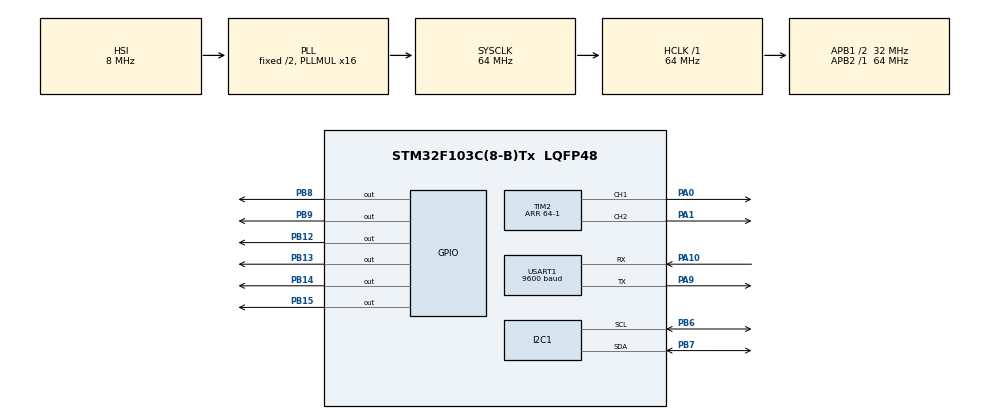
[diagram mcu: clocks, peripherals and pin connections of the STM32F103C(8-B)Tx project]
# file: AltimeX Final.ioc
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Dma.Request0=TIM2_CH2/CH4
Dma.TIM2_CH2/CH4.0.Direction=DMA_MEMORY_TO_PERIPH
Dma.TIM2_CH2/CH4.0.Instance=DMA1_Channel7
Dma.TIM2_CH2/CH4.0.MemDataAlignment=DMA_MDATAALIGN_HALFWORD
Dma.TIM2_CH2/CH4.0.MemInc=DMA_MINC_ENABLE
Dma.TIM2_CH2/CH4.0.Mode=DMA_NORMAL
Dma.TIM2_CH2/CH4.0.PeriphDataAlignment=DMA_PDATAALIGN_HALFWORD
Dma.TIM2_CH2/CH4.0.PeriphInc=DMA_PINC_DISABLE
Dma.TIM2_CH2/CH4.0.Priority=DMA_PRIORITY_LOW
I2C1.I2C_Mode=I2C_Standard
Mcu.Family=STM32F1
Mcu.Name=STM32F103C(8-B)Tx
Mcu.Package=LQFP48
NVIC.DMA1_Channel7_IRQn=true\:0\:0\:false\:false\:true\:false\:true\:true
NVIC.PriorityGroup=NVIC_PRIORITYGROUP_4
NVIC.USART1_IRQn=true\:0\:0\:false\:false\:true\:true\:true\:true
PA0-WKUP.Signal=S_TIM2_CH1_ETR
PA1.Signal=S_TIM2_CH2
PA10.Mode=Asynchronous
PA10.Signal=USART1_RX
PA9.Mode=Asynchronous
PA9.Signal=USART1_TX
PB12.Signal=GPIO_Output
PB13.Signal=GPIO_Output
PB14.Signal=GPIO_Output
PB15.Signal=GPIO_Output
PB6.Mode=I2C
PB6.Signal=I2C1_SCL
PB7.Mode=I2C
PB7.Signal=I2C1_SDA
PB8.Signal=GPIO_Output
PB9.Signal=GPIO_Output
ProjectManager.HeapSize=0x200
ProjectManager.StackSize=0x400
ProjectManager.TargetToolchain=STM32CubeIDE
RCC.ADCPresc=RCC_ADCPCLK2_DIV6
RCC.AHBFreq_Value=64000000
RCC.APB1CLKDivider=RCC_HCLK_DIV2
RCC.APB1Freq_Value=32000000
RCC.APB1TimFreq_Value=64000000
RCC.APB2Freq_Value=64000000
RCC.APB2TimFreq_Value=64000000
RCC.HCLKFreq_Value=64000000
RCC.PLLMUL=RCC_PLL_MUL16
RCC.SYSCLKFreq_VALUE=64000000
RCC.SYSCLKSource=RCC_SYSCLKSOURCE_PLLCLK
RCC.USBFreq_Value=64000000
SH.S_TIM2_CH1_ETR.0=TIM2_CH1,PWM Generation1 CH1
SH.S_TIM2_CH2.0=TIM2_CH2,PWM Generation2 CH2
TIM1.Prescaler=4-1
TIM2.Channel-PWM\ Generation1\ CH1=TIM_CHANNEL_1
TIM2.Channel-PWM\ Generation2\ CH2=TIM_CHANNEL_2
TIM2.Period=64-1
USART1.BaudRate=9600
USART1.VirtualMode=VM_ASYNC
VP_TIM1_VS_ClockSourceINT.Mode=Internal
VP_TIM2_VS_ClockSourceINT.Mode=Internal
board=custom

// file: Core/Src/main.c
/* USER CODE BEGIN Header */
/**
  ******************************************************************************
  * @file           : main.c
  * @brief          : Main program body
  ******************************************************************************
  * @attention
  *
  * Copyright (c) 2023 STMicroelectronics.
  * All rights reserved.
  *
  * This software is licensed under terms that can be found in the LICENSE file
  * in the root directory of this software component.
  * If no LICENSE file comes with this software, it is provided AS-IS.
  *
  ******************************************************************************
  */
#include <altimex_led_controller.h>
#include <altimex_state_controller.h>
/* USER CODE END Header */
#include "main.h"

/* USER CODE BEGIN Includes */
#include "led_strip.h"
#include "LPS22HB.h"
#include "altimex_serial.h"
#include "altimex_storage.h"
/* USER CODE END Includes */

I2C_HandleTypeDef hi2c1;

TIM_HandleTypeDef htim1;
TIM_HandleTypeDef htim2;
DMA_HandleTypeDef hdma_tim2_ch2_ch4;

UART_HandleTypeDef huart1;

void SystemClock_Config(void);
static void MX_GPIO_Init(void);
static void MX_DMA_Init(void);
static void MX_I2C1_Init(void);
static void MX_TIM2_Init(void);
static void MX_TIM1_Init(void);
static void MX_USART1_UART_Init(void);

int main(void)
{

  /* MCU Configuration--------------------------------------------------------*/

  /* Reset of all peripherals, Initializes the Flash interface and the Systick. */
  HAL_Init();

  /* USER CODE BEGIN Init */
	Strip_Set_Timer(&htim2);
	Strip_Clear();
  /* USER CODE END Init */

  /* Configure the system clock */
  SystemClock_Config();

  /* Initialize all configured peripherals */
  MX_GPIO_Init();
  MX_DMA_Init();
  MX_I2C1_Init();
  MX_TIM2_Init();
  MX_TIM1_Init();
  MX_USART1_UART_Init();
  /* USER CODE BEGIN 2 */

	HAL_Delay(1000);
	//LPS22HB barometer = new LPS22HB(&hi2c1, LPS_DEFAULT_ADDRESS, &huart1);
	//double refP = barometer.get_calibration_pressure(10, 100);
	//double refT = barometer.get_calibration_temperature(10, 100);
	//double tempF = barometer.get_tempf();
	double alt = 0.0;
	//uint16_t alt = 0;

	struct AltimexConfig config;
	config.ascentThreshold = 500;              //The altitude you must pass for it to transition into the ascent state
	config.ascentThresholdTime = 1000;         //ms that altitude must be above the ascentThreshold before transitioning between states
	config.deployTestThresholdTime = 2000;     //ms, threshold time that vertical speed has to be under 50mph
	config.gearCheckNotificationLength = 5000; //ms, the length of the gearcheck notification
	config.freefallThresholdTime = 2000;       //ms, the amount of time that the vertical speed must be above the freefall threshold speed to transition into freefall state
	config.exit = 12500.0;                       //Exit altitude
	config.breakoff = 5500.0;                    //Breakoff altitude
	config.deploy = 4500.0;                      //Deployment altitude
	config.standbyFlashOnLength = 100;         //How long the light is on for when in standby mode
	config.standbyFlashOffLength = 10000;       //Period between each flash in standby mode
	config.numLeds = 10;                       //The number of leds being used
	config.gearCheckAlt = 10000.0;               //The altitude that the gear check notification is given
	config.brightness = 20;                    //LED brightness
	config.standbyBrightness = 5;              //Brightness of LEDS while in standby mode
  /* USER CODE END 2 */

  /* Infinite loop */
  /* USER CODE BEGIN WHILE */
  uint16_t step = 0;
  while (1)
  {
	//uint8_t data[] = "hello!!!";
	//STORAGE_write(&hi2c1, 0, 8, &data);
	//uint8_t data_read[8] = {'\0'};
	//STORAGE_read(&hi2c1, 0, 8, &data_read);
	//println(data_read, strlen(data_read), &huart1);

	//tempF = barometer.get_tempf();
	//printd(tempF, &huart1);
    /*
    if(HAL_GetTick() > 10000 && HAL_GetTick() < 70000) alt = ((HAL_GetTick() - 10000) / (double)60000) * 12500;
    if(alt < 0) alt = 12500;
    if(HAL_GetTick() > 70000)
    {
    	if(alt < 2500) alt -= 5;
    	else alt -= 29;
    }
	*/

    //alt = barometer.get_relalt_ft(refP);
    //StateController_updateState(&config, alt);
    //Altimex_displayLeds(StateController_currentState, step, &config, alt);
    step++;
    if(step > 100) step = 0;

    /*
    char data[10];
    sprintf(data, "%f", alt);
    HAL_UART_Transmit(&huart1, data, sizeof(data), 100);
    */

    //printd(alt, &huart1);

    //Data is received one byte at a time
    //uint8_t Rx_data[1];
    //HAL_UART_Receive(&huart1, Rx_data, 100, 100);

    HAL_Delay(100); //10hz
    /* USER CODE END WHILE */

  }
}

void SystemClock_Config(void)
{
  RCC_OscInitTypeDef RCC_OscInitStruct = {0};
  RCC_ClkInitTypeDef RCC_ClkInitStruct = {0};

  /** Initializes the RCC Oscillators according to the specified parameters
  * in the RCC_OscInitTypeDef structure.
  */
  RCC_OscInitStruct.OscillatorType = RCC_OSCILLATORTYPE_HSI;
  RCC_OscInitStruct.HSIState = RCC_HSI_ON;
  RCC_OscInitStruct.HSICalibrationValue = RCC_HSICALIBRATION_DEFAULT;
  RCC_OscInitStruct.PLL.PLLState = RCC_PLL_ON;
  RCC_OscInitStruct.PLL.PLLSource = RCC_PLLSOURCE_HSI_DIV2;
  RCC_OscInitStruct.PLL.PLLMUL = RCC_PLL_MUL16;
  if (HAL_RCC_OscConfig(&RCC_OscInitStruct) != HAL_OK)
  {
    Error_Handler();
  }

  /** Initializes the CPU, AHB and APB buses clocks
  */
  RCC_ClkInitStruct.ClockType = RCC_CLOCKTYPE_HCLK|RCC_CLOCKTYPE_SYSCLK
                              |RCC_CLOCKTYPE_PCLK1|RCC_CLOCKTYPE_PCLK2;
  RCC_ClkInitStruct.SYSCLKSource = RCC_SYSCLKSOURCE_PLLCLK;
  RCC_ClkInitStruct.AHBCLKDivider = RCC_SYSCLK_DIV1;
  RCC_ClkInitStruct.APB1CLKDivider = RCC_HCLK_DIV2;
  RCC_ClkInitStruct.APB2CLKDivider = RCC_HCLK_DIV1;

  if (HAL_RCC_ClockConfig(&RCC_ClkInitStruct, FLASH_LATENCY_2) != HAL_OK)
  {
    Error_Handler();
  }
}

static void MX_I2C1_Init(void)
{

  hi2c1.Instance = I2C1;
  hi2c1.Init.ClockSpeed = 100000;
  hi2c1.Init.DutyCycle = I2C_DUTYCYCLE_2;
  hi2c1.Init.OwnAddress1 = 0;
  hi2c1.Init.AddressingMode = I2C_ADDRESSINGMODE_7BIT;
  hi2c1.Init.DualAddressMode = I2C_DUALADDRESS_DISABLE;
  hi2c1.Init.OwnAddress2 = 0;
  hi2c1.Init.GeneralCallMode = I2C_GENERALCALL_DISABLE;
  hi2c1.Init.NoStretchMode = I2C_NOSTRETCH_DISABLE;
  if (HAL_I2C_Init(&hi2c1) != HAL_OK)
  {
    Error_Handler();
  }

}

static void MX_TIM1_Init(void)
{

  TIM_ClockConfigTypeDef sClockSourceConfig = {0};
  TIM_MasterConfigTypeDef sMasterConfig = {0};

  htim1.Instance = TIM1;
  htim1.Init.Prescaler = 4-1;
  htim1.Init.CounterMode = TIM_COUNTERMODE_UP;
  htim1.Init.Period = 65535;
  htim1.Init.ClockDivision = TIM_CLOCKDIVISION_DIV1;
  htim1.Init.RepetitionCounter = 0;
  htim1.Init.AutoReloadPreload = TIM_AUTORELOAD_PRELOAD_DISABLE;
  if (HAL_TIM_Base_Init(&htim1) != HAL_OK)
  {
    Error_Handler();
  }
  sClockSourceConfig.ClockSource = TIM_CLOCKSOURCE_INTERNAL;
  if (HAL_TIM_ConfigClockSource(&htim1, &sClockSourceConfig) != HAL_OK)
  {
    Error_Handler();
  }
  sMasterConfig.MasterOutputTrigger = TIM_TRGO_RESET;
  sMasterConfig.MasterSlaveMode = TIM_MASTERSLAVEMODE_DISABLE;
  if (HAL_TIMEx_MasterConfigSynchronization(&htim1, &sMasterConfig) != HAL_OK)
  {
    Error_Handler();
  }

}

static void MX_TIM2_Init(void)
{

  TIM_ClockConfigTypeDef sClockSourceConfig = {0};
  TIM_MasterConfigTypeDef sMasterConfig = {0};
  TIM_OC_InitTypeDef sConfigOC = {0};

  htim2.Instance = TIM2;
  htim2.Init.Prescaler = 0;
  htim2.Init.CounterMode = TIM_COUNTERMODE_UP;
  htim2.Init.Period = 64-1;
  htim2.Init.ClockDivision = TIM_CLOCKDIVISION_DIV1;
  htim2.Init.AutoReloadPreload = TIM_AUTORELOAD_PRELOAD_DISABLE;
  if (HAL_TIM_Base_Init(&htim2) != HAL_OK)
  {
    Error_Handler();
  }
  sClockSourceConfig.ClockSource = TIM_CLOCKSOURCE_INTERNAL;
  if (HAL_TIM_ConfigClockSource(&htim2, &sClockSourceConfig) != HAL_OK)
  {
    Error_Handler();
  }
  if (HAL_TIM_PWM_Init(&htim2) != HAL_OK)
  {
    Error_Handler();
  }
  sMasterConfig.MasterOutputTrigger = TIM_TRGO_RESET;
  sMasterConfig.MasterSlaveMode = TIM_MASTERSLAVEMODE_DISABLE;
  if (HAL_TIMEx_MasterConfigSynchronization(&htim2, &sMasterConfig) != HAL_OK)
  {
    Error_Handler();
  }
  sConfigOC.OCMode = TIM_OCMODE_PWM1;
  sConfigOC.Pulse = 0;
  sConfigOC.OCPolarity = TIM_OCPOLARITY_HIGH;
  sConfigOC.OCFastMode = TIM_OCFAST_DISABLE;
  if (HAL_TIM_PWM_ConfigChannel(&htim2, &sConfigOC, TIM_CHANNEL_1) != HAL_OK)
  {
    Error_Handler();
  }
  if (HAL_TIM_PWM_ConfigChannel(&htim2, &sConfigOC, TIM_CHANNEL_2) != HAL_OK)
  {
    Error_Handler();
  }
  HAL_TIM_MspPostInit(&htim2);

}

static void MX_USART1_UART_Init(void)
{

  huart1.Instance = USART1;
  huart1.Init.BaudRate = 9600;
  huart1.Init.WordLength = UART_WORDLENGTH_8B;
  huart1.Init.StopBits = UART_STOPBITS_1;
  huart1.Init.Parity = UART_PARITY_NONE;
  huart1.Init.Mode = UART_MODE_TX_RX;
  huart1.Init.HwFlowCtl = UART_HWCONTROL_NONE;
  huart1.Init.OverSampling = UART_OVERSAMPLING_16;
  if (HAL_UART_Init(&huart1) != HAL_OK)
  {
    Error_Handler();
  }

}

static void MX_DMA_Init(void)
{

  /* DMA controller clock enable */
  __HAL_RCC_DMA1_CLK_ENABLE();

  /* DMA interrupt init */
  /* DMA1_Channel7_IRQn interrupt configuration */
  HAL_NVIC_SetPriority(DMA1_Channel7_IRQn, 0, 0);
  HAL_NVIC_EnableIRQ(DMA1_Channel7_IRQn);

}

static void MX_GPIO_Init(void)
{
  GPIO_InitTypeDef GPIO_InitStruct = {0};

  /* GPIO Ports Clock Enable */
  __HAL_RCC_GPIOA_CLK_ENABLE();
  __HAL_RCC_GPIOB_CLK_ENABLE();

  /*Configure GPIO pin Output Level */
  HAL_GPIO_WritePin(GPIOB, GPIO_PIN_12|GPIO_PIN_13|GPIO_PIN_14|GPIO_PIN_15
                          |GPIO_PIN_8|GPIO_PIN_9, GPIO_PIN_RESET);

  /*Configure GPIO pins : PB12 PB13 PB14 PB15
                           PB8 PB9 */
  GPIO_InitStruct.Pin = GPIO_PIN_12|GPIO_PIN_13|GPIO_PIN_14|GPIO_PIN_15
                          |GPIO_PIN_8|GPIO_PIN_9;
  GPIO_InitStruct.Mode = GPIO_MODE_OUTPUT_PP;
  GPIO_InitStruct.Pull = GPIO_NOPULL;
  GPIO_InitStruct.Speed = GPIO_SPEED_FREQ_LOW;
  HAL_GPIO_Init(GPIOB, &GPIO_InitStruct);

}

void Error_Handler(void)
{
  __disable_irq();
  while (1)
  {
  }
}
